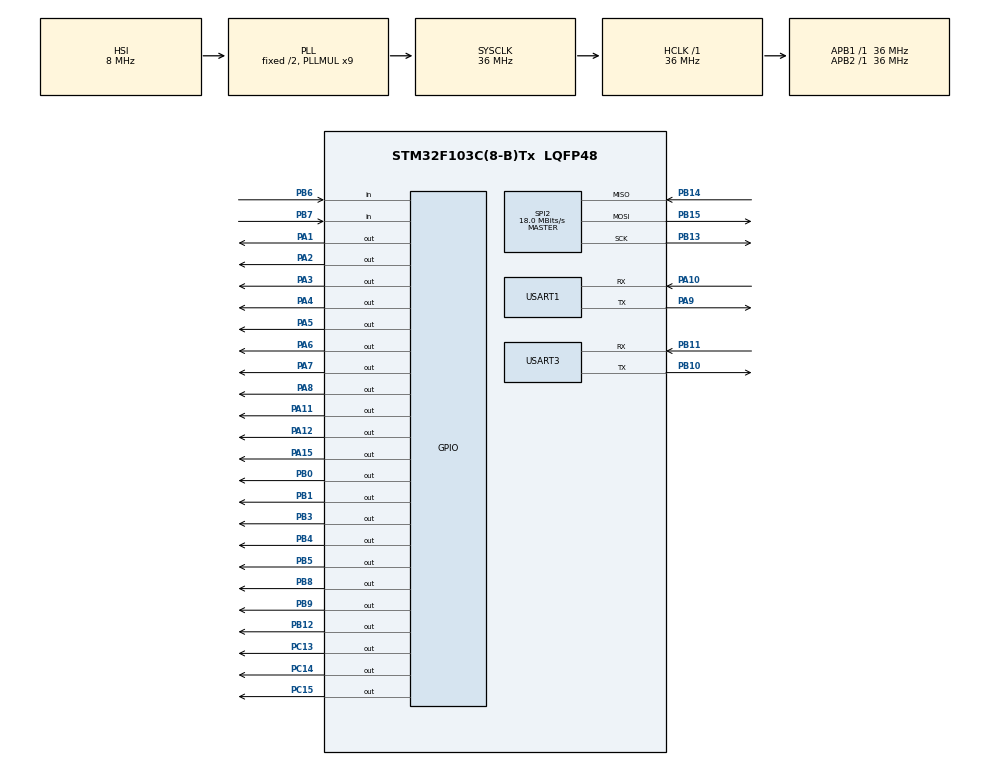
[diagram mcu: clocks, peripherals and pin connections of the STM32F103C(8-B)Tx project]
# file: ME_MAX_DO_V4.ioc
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Dma.Request0=USART1_RX
Dma.Request1=USART1_TX
Dma.Request2=USART3_RX
Dma.Request3=USART3_TX
Dma.USART1_RX.0.Direction=DMA_PERIPH_TO_MEMORY
Dma.USART1_RX.0.Instance=DMA1_Channel5
Dma.USART1_RX.0.MemDataAlignment=DMA_MDATAALIGN_BYTE
Dma.USART1_RX.0.MemInc=DMA_MINC_ENABLE
Dma.USART1_RX.0.Mode=DMA_NORMAL
Dma.USART1_RX.0.PeriphDataAlignment=DMA_PDATAALIGN_BYTE
Dma.USART1_RX.0.PeriphInc=DMA_PINC_DISABLE
Dma.USART1_RX.0.Priority=DMA_PRIORITY_LOW
Dma.USART1_TX.1.Direction=DMA_MEMORY_TO_PERIPH
Dma.USART1_TX.1.Instance=DMA1_Channel4
Dma.USART1_TX.1.MemDataAlignment=DMA_MDATAALIGN_BYTE
Dma.USART1_TX.1.MemInc=DMA_MINC_ENABLE
Dma.USART1_TX.1.Mode=DMA_NORMAL
Dma.USART1_TX.1.PeriphDataAlignment=DMA_PDATAALIGN_BYTE
Dma.USART1_TX.1.PeriphInc=DMA_PINC_DISABLE
Dma.USART1_TX.1.Priority=DMA_PRIORITY_LOW
Dma.USART3_RX.2.Direction=DMA_PERIPH_TO_MEMORY
Dma.USART3_RX.2.Instance=DMA1_Channel3
Dma.USART3_RX.2.MemDataAlignment=DMA_MDATAALIGN_BYTE
Dma.USART3_RX.2.MemInc=DMA_MINC_ENABLE
Dma.USART3_RX.2.Mode=DMA_NORMAL
Dma.USART3_RX.2.PeriphDataAlignment=DMA_PDATAALIGN_BYTE
Dma.USART3_RX.2.PeriphInc=DMA_PINC_DISABLE
Dma.USART3_RX.2.Priority=DMA_PRIORITY_LOW
Dma.USART3_TX.3.Direction=DMA_MEMORY_TO_PERIPH
Dma.USART3_TX.3.Instance=DMA1_Channel2
Dma.USART3_TX.3.MemDataAlignment=DMA_MDATAALIGN_BYTE
Dma.USART3_TX.3.MemInc=DMA_MINC_ENABLE
Dma.USART3_TX.3.Mode=DMA_NORMAL
Dma.USART3_TX.3.PeriphDataAlignment=DMA_PDATAALIGN_BYTE
Dma.USART3_TX.3.PeriphInc=DMA_PINC_DISABLE
Dma.USART3_TX.3.Priority=DMA_PRIORITY_LOW
IWDG.Prescaler=IWDG_PRESCALER_64
Mcu.Family=STM32F1
Mcu.Name=STM32F103C(8-B)Tx
Mcu.Package=LQFP48
NVIC.DMA1_Channel2_IRQn=true\:0\:0\:false\:false\:true\:false\:true\:true
NVIC.DMA1_Channel3_IRQn=true\:0\:0\:false\:false\:true\:false\:true\:true
NVIC.DMA1_Channel4_IRQn=true\:0\:0\:false\:false\:true\:false\:true\:true
NVIC.DMA1_Channel5_IRQn=true\:0\:0\:false\:false\:true\:false\:true\:true
NVIC.PriorityGroup=NVIC_PRIORITYGROUP_4
NVIC.RCC_IRQn=true\:0\:0\:false\:false\:true\:true\:false\:true
NVIC.SPI2_IRQn=true\:0\:0\:false\:false\:true\:true\:true\:true
NVIC.TIM2_IRQn=true\:0\:0\:false\:false\:true\:true\:true\:true
NVIC.USART1_IRQn=true\:0\:0\:false\:false\:true\:true\:true\:true
NVIC.USART3_IRQn=true\:0\:0\:false\:false\:true\:true\:true\:true
PA1.Signal=GPIO_Output
PA10.Mode=Asynchronous
PA10.Signal=USART1_RX
PA11.Signal=GPIO_Output
PA12.Signal=GPIO_Output
PA13.Mode=Serial_Wire
PA13.Signal=SYS_JTMS-SWDIO
PA14.Mode=Serial_Wire
PA14.Signal=SYS_JTCK-SWCLK
PA15.Signal=GPIO_Output
PA2.Signal=GPIO_Output
PA3.Signal=GPIO_Output
PA4.Signal=GPIO_Output
PA5.Signal=GPIO_Output
PA6.Signal=GPIO_Output
PA7.Signal=GPIO_Output
PA8.Signal=GPIO_Output
PA9.Mode=Asynchronous
PA9.Signal=USART1_TX
PB0.Signal=GPIO_Output
PB1.Signal=GPIO_Output
PB10.Mode=Asynchronous
PB10.Signal=USART3_TX
PB11.Mode=Asynchronous
PB11.Signal=USART3_RX
PB12.Signal=GPIO_Output
PB13.Mode=Full_Duplex_Master
PB13.Signal=SPI2_SCK
PB14.Mode=Full_Duplex_Master
PB14.Signal=SPI2_MISO
PB15.Mode=Full_Duplex_Master
PB15.Signal=SPI2_MOSI
PB3.Signal=GPIO_Output
PB4.Signal=GPIO_Output
PB5.Signal=GPIO_Output
PB6.Signal=GPIO_Input
PB7.Signal=GPIO_Input
PB8.Signal=GPIO_Output
PB9.Signal=GPIO_Output
PC13-TAMPER-RTC.Signal=GPIO_Output
PC14-OSC32_IN.Signal=GPIO_Output
PC15-OSC32_OUT.Signal=GPIO_Output
PD0-OSC_IN.Mode=HSE-External-Oscillator
PD0-OSC_IN.Signal=RCC_OSC_IN
PD1-OSC_OUT.Mode=HSE-External-Oscillator
PD1-OSC_OUT.Signal=RCC_OSC_OUT
ProjectManager.HeapSize=0x200
ProjectManager.StackSize=0x400
ProjectManager.TargetToolchain=STM32CubeIDE
RCC.AHBFreq_Value=36000000
RCC.APB1Freq_Value=36000000
RCC.APB1TimFreq_Value=36000000
RCC.APB2Freq_Value=36000000
RCC.APB2TimFreq_Value=36000000
RCC.HCLKFreq_Value=36000000
RCC.PLLMUL=RCC_PLL_MUL9
RCC.SYSCLKFreq_VALUE=36000000
RCC.SYSCLKSource=RCC_SYSCLKSOURCE_PLLCLK
RCC.USBFreq_Value=36000000
SPI2.CalculateBaudRate=18.0 MBits/s
SPI2.Direction=SPI_DIRECTION_2LINES
SPI2.Mode=SPI_MODE_MASTER
SPI2.VirtualType=VM_MASTER
TIM2.AutoReloadPreload=TIM_AUTORELOAD_PRELOAD_ENABLE
TIM2.Period=3
TIM2.Prescaler=35999
USART1.VirtualMode=VM_ASYNC
USART3.VirtualMode=VM_ASYNC
VP_IWDG_VS_IWDG.Mode=IWDG_Activate
VP_TIM2_VS_ClockSourceINT.Mode=Internal
board=custom

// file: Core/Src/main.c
/* USER CODE BEGIN Header */
/**
  ******************************************************************************
  * @file           : main.c
  * @brief          : Main program body
  ******************************************************************************
  * @attention
  *
  * Copyright (c) 2025 STMicroelectronics.
  * All rights reserved.
  *
  * This software is licensed under terms that can be found in the LICENSE file
  * in the root directory of this software component.
  * If no LICENSE file comes with this software, it is provided AS-IS.
  *
  ******************************************************************************
  */
/* USER CODE END Header */
#include "main.h"

/* USER CODE BEGIN Includes */
#include "string.h"
#include "stdbool.h"
#include "stdio.h"
#include "string.h"
#include "stdlib.h"
#include "Modbus_slave.h"
/* USER CODE END Includes */

/* USER CODE BEGIN PTD */

uint16_t len9 ;
uint16_t startAddr;
uint16_t startAddr1;
uint16_t numCoils1;
uint16_t numCoils;
volatile uint8_t uart1_tx_busy = 0;
volatile uint8_t uart3_tx_busy = 0;
uint8_t RxData2[10];
uint16_t coils_value;
uint8_t TxData2[10];

uint32_t cnt2;
uint8_t uart1_buf[64];
uint8_t uart3_buf[64];
uint8_t slave_id;
uint8_t RxData[64];
uint8_t TxData[256];
uint8_t RxData1[64];
uint8_t UART1_rx_buffer[64];
uint8_t UART3_rx_buffer[64];
uint8_t TxData1[256];
uint8_t is_trigger=0;

volatile uint32_t uart1_last_rx_time = 0;
volatile uint32_t uart3_last_rx_time = 0;
volatile uint32_t uart1_process_start = 0;
volatile uint32_t uart3_process_start = 0;

volatile uint32_t uart11_last_rx_time = 0;

volatile uint8_t uart1_recovering = 0;
volatile uint8_t uart3_recovering = 0;

uint32_t uart1_last_recovery = 0;
uint32_t uart3_last_recovery = 0;
uint32_t frame_delay = 4;

uint8_t buf_A; // DIP SWITCH ID

volatile uint8_t RxIndex1 = 0, RxIndex2 = 0;
uint8_t RxByte1, RxByte3;
uint32_t lastByteTime1 = 0, lastByteTime3 = 0;

uint8_t slave_id;
uint8_t buf_A; // DIP SWITCH ID
uint32_t selectedBaudRate;
uint16_t gpioVal;
uint8_t  lastGpioVal = 0xFF;

volatile uint8_t newFrameReceived = 0;
volatile uint16_t uart1_rx_size = 0;
volatile uint16_t uart3_rx_size = 0;

volatile uint8_t uart1_frame_ready = 0;
volatile uint8_t uart3_frame_ready = 0;
/* USER CODE END Includes */
static uint8_t prev_slave_id = 0;

/* USER CODE BEGIN PTD */

/* USER CODE END PTD */

/* USER CODE BEGIN PD */
void UART3_Recover(void);
void UART1_Recover(void);
/* USER CODE END PD */

IWDG_HandleTypeDef hiwdg;

SPI_HandleTypeDef hspi2;

TIM_HandleTypeDef htim2;

UART_HandleTypeDef huart1;
UART_HandleTypeDef huart3;
DMA_HandleTypeDef hdma_usart1_rx;
DMA_HandleTypeDef hdma_usart1_tx;
DMA_HandleTypeDef hdma_usart3_rx;
DMA_HandleTypeDef hdma_usart3_tx;

void SystemClock_Config(void);
static void MX_GPIO_Init(void);
static void MX_DMA_Init(void);
static void MX_SPI2_Init(void);
static void MX_USART1_UART_Init(void);
static void MX_USART3_UART_Init(void);
static void MX_IWDG_Init(void);
static void MX_TIM2_Init(void);

/* USER CODE BEGIN 0 */

//////////////////////////////////////////////////  MCP24 DIP SWITCH ID 2   /////////////////////////////////////////////

	   void csLOW_B(void)
		{
		HAL_GPIO_WritePin(GPIOB, GPIO_PIN_12, GPIO_PIN_RESET);
		}

		void csHIGH_B(void)
		{
		HAL_GPIO_WritePin(GPIOB, GPIO_PIN_12, GPIO_PIN_SET);
		}

		void RST_HIGH_B(void)
		{
		HAL_GPIO_WritePin(GPIOC, GPIO_PIN_15, GPIO_PIN_SET);
		}

		void SPI_Write_B (uint8_t *data, uint8_t len)
		{
		HAL_SPI_Transmit(&hspi2, data, len,3000);
		}

		void SPI_Read_B (uint8_t *data, uint8_t len)
		{
		HAL_SPI_Receive(&hspi2, data, len,3000);
		}

		//INITIALIZE THE MCP23S17
		void enable_MCPA_B (void)
		{
		uint8_t tData[3];
		tData[0]=0x4E;     // OPCODE MCP23 READ ENABLE
		tData[1]=0x05;    // IOCONA
		tData[2]=0xFF;    //  FOR BANK1

		csLOW_B();                    // pull the CS LOW
		SPI_Write_B(tData,3);
		csHIGH_B();                   // pull the HIGH
		HAL_Delay(2); ;           // Write cycle delay (5ms)
		}

		void enable_MCPB_B (void)
		{
		uint8_t tData[3];
		tData[0]=0x4E;     // OPCODE MCP23 READ ENABLE
		tData[1]=0x15;    // IOCONB
		tData[2]=0xFF;    //  FOR BANK1

		csLOW_B();                    // pull the CS LOW
		SPI_Write_B(tData,3);
		csHIGH_B();                   // pull the HIGH
		HAL_Delay(2);            // Write cycle delay (5ms)
		}
		void port_configB_B (void)
		{
		uint8_t tData[3];
		tData[0]=0x4E;
		tData[1]=0x10;      // IODIRB= 0X10 PORTB BANK=1 OUTPUT address.
		tData[2]=0xff;      // IODIRB 0XFF INPUT read modbus

		csLOW_B();                    // pull the CS LOW
		SPI_Write_B(tData,3);
		csHIGH_B();                   // pull the HIGH
		HAL_Delay(2); ;          // Write cycle delay (5ms)
		}

		void port_configA_B (void)
		{
		uint8_t tData[3];
		tData[0]=0x4E;
		tData[1]=0x00;      // IODIRA= 0X00 PORTB BANK=1 OUTPUT address.
		tData[2]=0xff;      // IODIRA 0X00 OUTPUT(relay output) oxff for input read modbus mcp

		csLOW_B();                    // pull the CS LOW
		SPI_Write_B(tData,3);
		csHIGH_B();                   // pull the HIGH
		HAL_Delay(2);           // Write cycle delay (5ms)
		}

		void polarity_configB_B (void)
		{
		uint8_t tData[3];
		tData[0]=0x4E;
		tData[1]=0x11;     // IPOL 0X11 BANK1 IPOLB
		tData[2]=0xff;    // IPOL 0X00 SAME polarity at OUTPUT

		csLOW_B();                    // pull the CS LOW
		SPI_Write_B(tData, 3);
		csHIGH_B();                   // pull the HIGH
		HAL_Delay(2);            // Write cycle delay (5ms)
		}

		void latch_configA_B (void)      // FOR READING REGISTER
		{
		uint8_t tData[3];
		tData[0]=0x4E;
		tData[1]=0x0A;     // OLATb 0X1A BANK1 address. 0X0A OLATA
		tData[2]=0xff;    // OLATB 0X00 OUTPUT LOW  AND 0XFF FOR HIGH   data

		csLOW_B();                    // pull the CS LOW
		SPI_Write_B(tData, 3);
		csHIGH_B();                   // pull the HIGH
		HAL_Delay(2);            // Write cycle delay (5ms)
		}

		void latch_configB_B (void)      // FOR READING REGISTER
		{
		uint8_t tData[3];
		tData[0]=0x4E;
		tData[1]=0x1A;     // OLATb 0X1A BANK1 address. 0X0A OLATA
		tData[2]=0xFF;    // OLATB 0X00 OUTPUT LOW  AND 0XFF FOR HIGH   data

		csLOW_B();                    // pull the CS LOW
		SPI_Write_B(tData, 3);
		csHIGH_B();                   // pull the HIGH
		HAL_Delay(2);            // Write cycle delay (5ms)
		}

		uint8_t GPIO_readA_B ()
		{

		uint8_t tData[2];
		tData[0] = 0x4F;         // OPCODE WRITE mcp23
		tData[1] = 0x09;         // 0x19 GPIOB read && GPIOA=0X09     //BANK1

		csLOW_B();
		SPI_Write_B(tData, 2);
		SPI_Read_B(&buf_A,1);
		csHIGH_B();
		HAL_Delay(10);
		return buf_A;

		}

void UART_SetBaudRate(UART_HandleTypeDef *huart, uint32_t baudRate)
{
	HAL_UART_DeInit(huart);
	huart->Init.BaudRate = baudRate;
	if (HAL_UART_Init(huart) != HAL_OK)
	{
		Error_Handler();
	}
}
/* USER CODE BEGIN 4 */

void UART_DMA_Init(void)
{
	HAL_UART_DMAStop(&huart1);
    HAL_UARTEx_ReceiveToIdle_DMA(&huart1, RxData1, sizeof(RxData1));
    __HAL_DMA_DISABLE_IT(&hdma_usart1_rx, DMA_IT_HT);

    HAL_UART_DMAStop(&huart3);
    HAL_UARTEx_ReceiveToIdle_DMA(&huart3, RxData, sizeof(RxData));
    __HAL_DMA_DISABLE_IT(&hdma_usart3_rx, DMA_IT_HT);
}

void UpdateUartBaudRate(void)
{
	static uint32_t previousBaud = 0;

	uint8_t gpioVal = (HAL_GPIO_ReadPin(GPIOB, GPIO_PIN_6) << 1) |
							HAL_GPIO_ReadPin(GPIOB, GPIO_PIN_7);

	switch (gpioVal)
	{
		case 0x00: selectedBaudRate = 9600; break;
		case 0x01: selectedBaudRate = 19200; break;
		case 0x02: selectedBaudRate = 38400; break;
		default: selectedBaudRate = 115200; break;
	}

	// 🔥 Only change if baud is different
	if (selectedBaudRate != previousBaud)
	{
		previousBaud = selectedBaudRate;

		// Stop UART first
		HAL_UART_DMAStop(&huart3);
		HAL_UART_DMAStop(&huart1);

		UART_SetBaudRate(&huart3, selectedBaudRate);
		UART_SetBaudRate(&huart1, selectedBaudRate);

		HAL_UARTEx_ReceiveToIdle_DMA(&huart3, RxData, sizeof(RxData));
		__HAL_DMA_DISABLE_IT(&hdma_usart3_rx, DMA_IT_HT);

		HAL_UARTEx_ReceiveToIdle_DMA(&huart1, RxData1, sizeof(RxData1));
		__HAL_DMA_DISABLE_IT(&hdma_usart1_rx, DMA_IT_HT);
	}
}
/* USER CODE END 0 */

void SystemClock_Config(void)
{
  RCC_OscInitTypeDef RCC_OscInitStruct = {0};
  RCC_ClkInitTypeDef RCC_ClkInitStruct = {0};

  /** Initializes the RCC Oscillators according to the specified parameters
  * in the RCC_OscInitTypeDef structure.
  */
  RCC_OscInitStruct.OscillatorType = RCC_OSCILLATORTYPE_HSI|RCC_OSCILLATORTYPE_LSI;
  RCC_OscInitStruct.HSIState = RCC_HSI_ON;
  RCC_OscInitStruct.HSICalibrationValue = RCC_HSICALIBRATION_DEFAULT;
  RCC_OscInitStruct.LSIState = RCC_LSI_ON;
  RCC_OscInitStruct.PLL.PLLState = RCC_PLL_ON;
  RCC_OscInitStruct.PLL.PLLSource = RCC_PLLSOURCE_HSI_DIV2;
  RCC_OscInitStruct.PLL.PLLMUL = RCC_PLL_MUL9;
  if (HAL_RCC_OscConfig(&RCC_OscInitStruct) != HAL_OK)
  {
    Error_Handler();
  }

  /** Initializes the CPU, AHB and APB buses clocks
  */
  RCC_ClkInitStruct.ClockType = RCC_CLOCKTYPE_HCLK|RCC_CLOCKTYPE_SYSCLK
                              |RCC_CLOCKTYPE_PCLK1|RCC_CLOCKTYPE_PCLK2;
  RCC_ClkInitStruct.SYSCLKSource = RCC_SYSCLKSOURCE_PLLCLK;
  RCC_ClkInitStruct.AHBCLKDivider = RCC_SYSCLK_DIV1;
  RCC_ClkInitStruct.APB1CLKDivider = RCC_HCLK_DIV1;
  RCC_ClkInitStruct.APB2CLKDivider = RCC_HCLK_DIV1;

  if (HAL_RCC_ClockConfig(&RCC_ClkInitStruct, FLASH_LATENCY_1) != HAL_OK)
  {
    Error_Handler();
  }
}

static void MX_IWDG_Init(void)
{

  hiwdg.Instance = IWDG;
  hiwdg.Init.Prescaler = IWDG_PRESCALER_64;
  hiwdg.Init.Reload = 4095;
  if (HAL_IWDG_Init(&hiwdg) != HAL_OK)
  {
    Error_Handler();
  }

}

static void MX_SPI2_Init(void)
{

  /* SPI2 parameter configuration*/
  hspi2.Instance = SPI2;
  hspi2.Init.Mode = SPI_MODE_MASTER;
  hspi2.Init.Direction = SPI_DIRECTION_2LINES;
  hspi2.Init.DataSize = SPI_DATASIZE_8BIT;
  hspi2.Init.CLKPolarity = SPI_POLARITY_LOW;
  hspi2.Init.CLKPhase = SPI_PHASE_1EDGE;
  hspi2.Init.NSS = SPI_NSS_SOFT;
  hspi2.Init.BaudRatePrescaler = SPI_BAUDRATEPRESCALER_2;
  hspi2.Init.FirstBit = SPI_FIRSTBIT_MSB;
  hspi2.Init.TIMode = SPI_TIMODE_DISABLE;
  hspi2.Init.CRCCalculation = SPI_CRCCALCULATION_DISABLE;
  hspi2.Init.CRCPolynomial = 10;
  if (HAL_SPI_Init(&hspi2) != HAL_OK)
  {
    Error_Handler();
  }

}

static void MX_TIM2_Init(void)
{

  TIM_ClockConfigTypeDef sClockSourceConfig = {0};
  TIM_MasterConfigTypeDef sMasterConfig = {0};

  htim2.Instance = TIM2;
  htim2.Init.Prescaler = 35999;
  htim2.Init.CounterMode = TIM_COUNTERMODE_UP;
  htim2.Init.Period = 3;
  htim2.Init.ClockDivision = TIM_CLOCKDIVISION_DIV1;
  htim2.Init.AutoReloadPreload = TIM_AUTORELOAD_PRELOAD_ENABLE;
  if (HAL_TIM_Base_Init(&htim2) != HAL_OK)
  {
    Error_Handler();
  }
  sClockSourceConfig.ClockSource = TIM_CLOCKSOURCE_INTERNAL;
  if (HAL_TIM_ConfigClockSource(&htim2, &sClockSourceConfig) != HAL_OK)
  {
    Error_Handler();
  }
  sMasterConfig.MasterOutputTrigger = TIM_TRGO_RESET;
  sMasterConfig.MasterSlaveMode = TIM_MASTERSLAVEMODE_DISABLE;
  if (HAL_TIMEx_MasterConfigSynchronization(&htim2, &sMasterConfig) != HAL_OK)
  {
    Error_Handler();
  }

}

static void MX_USART1_UART_Init(void)
{

  huart1.Instance = USART1;
  huart1.Init.BaudRate = 115200;
  huart1.Init.WordLength = UART_WORDLENGTH_8B;
  huart1.Init.StopBits = UART_STOPBITS_1;
  huart1.Init.Parity = UART_PARITY_NONE;
  huart1.Init.Mode = UART_MODE_TX_RX;
  huart1.Init.HwFlowCtl = UART_HWCONTROL_NONE;
  huart1.Init.OverSampling = UART_OVERSAMPLING_16;
  if (HAL_UART_Init(&huart1) != HAL_OK)
  {
    Error_Handler();
  }

}

static void MX_USART3_UART_Init(void)
{

  huart3.Instance = USART3;
  huart3.Init.BaudRate = 115200;
  huart3.Init.WordLength = UART_WORDLENGTH_8B;
  huart3.Init.StopBits = UART_STOPBITS_1;
  huart3.Init.Parity = UART_PARITY_NONE;
  huart3.Init.Mode = UART_MODE_TX_RX;
  huart3.Init.HwFlowCtl = UART_HWCONTROL_NONE;
  huart3.Init.OverSampling = UART_OVERSAMPLING_16;
  if (HAL_UART_Init(&huart3) != HAL_OK)
  {
    Error_Handler();
  }

}

static void MX_DMA_Init(void)
{

  /* DMA controller clock enable */
  __HAL_RCC_DMA1_CLK_ENABLE();

  /* DMA interrupt init */
  /* DMA1_Channel2_IRQn interrupt configuration */
  HAL_NVIC_SetPriority(DMA1_Channel2_IRQn, 0, 0);
  HAL_NVIC_EnableIRQ(DMA1_Channel2_IRQn);
  /* DMA1_Channel3_IRQn interrupt configuration */
  HAL_NVIC_SetPriority(DMA1_Channel3_IRQn, 0, 0);
  HAL_NVIC_EnableIRQ(DMA1_Channel3_IRQn);
  /* DMA1_Channel4_IRQn interrupt configuration */
  HAL_NVIC_SetPriority(DMA1_Channel4_IRQn, 0, 0);
  HAL_NVIC_EnableIRQ(DMA1_Channel4_IRQn);
  /* DMA1_Channel5_IRQn interrupt configuration */
  HAL_NVIC_SetPriority(DMA1_Channel5_IRQn, 0, 0);
  HAL_NVIC_EnableIRQ(DMA1_Channel5_IRQn);

}

static void MX_GPIO_Init(void)
{
  GPIO_InitTypeDef GPIO_InitStruct = {0};

  /* GPIO Ports Clock Enable */
  __HAL_RCC_GPIOC_CLK_ENABLE();
  __HAL_RCC_GPIOD_CLK_ENABLE();
  __HAL_RCC_GPIOA_CLK_ENABLE();
  __HAL_RCC_GPIOB_CLK_ENABLE();

  /*Configure GPIO pin Output Level */
  HAL_GPIO_WritePin(GPIOC, GPIO_PIN_13|GPIO_PIN_14|GPIO_PIN_15, GPIO_PIN_RESET);

  /*Configure GPIO pin Output Level */
  HAL_GPIO_WritePin(GPIOA, GPIO_PIN_1|GPIO_PIN_2|GPIO_PIN_3|GPIO_PIN_4
                          |GPIO_PIN_5|GPIO_PIN_6|GPIO_PIN_7|GPIO_PIN_8
                          |GPIO_PIN_11|GPIO_PIN_12|GPIO_PIN_15, GPIO_PIN_RESET);

  /*Configure GPIO pin Output Level */
  HAL_GPIO_WritePin(GPIOB, GPIO_PIN_0|GPIO_PIN_1|GPIO_PIN_12|GPIO_PIN_3
                          |GPIO_PIN_4|GPIO_PIN_5|GPIO_PIN_8|GPIO_PIN_9, GPIO_PIN_RESET);

  /*Configure GPIO pins : PC13 PC14 PC15 */
  GPIO_InitStruct.Pin = GPIO_PIN_13|GPIO_PIN_14|GPIO_PIN_15;
  GPIO_InitStruct.Mode = GPIO_MODE_OUTPUT_PP;
  GPIO_InitStruct.Pull = GPIO_NOPULL;
  GPIO_InitStruct.Speed = GPIO_SPEED_FREQ_LOW;
  HAL_GPIO_Init(GPIOC, &GPIO_InitStruct);

  /*Configure GPIO pins : PA1 PA2 PA3 PA4
                           PA5 PA6 PA7 PA8
                           PA11 PA12 PA15 */
  GPIO_InitStruct.Pin = GPIO_PIN_1|GPIO_PIN_2|GPIO_PIN_3|GPIO_PIN_4
                          |GPIO_PIN_5|GPIO_PIN_6|GPIO_PIN_7|GPIO_PIN_8
                          |GPIO_PIN_11|GPIO_PIN_12|GPIO_PIN_15;
  GPIO_InitStruct.Mode = GPIO_MODE_OUTPUT_PP;
  GPIO_InitStruct.Pull = GPIO_NOPULL;
  GPIO_InitStruct.Speed = GPIO_SPEED_FREQ_LOW;
  HAL_GPIO_Init(GPIOA, &GPIO_InitStruct);

  /*Configure GPIO pins : PB0 PB1 PB12 PB3
                           PB4 PB5 PB8 PB9 */
  GPIO_InitStruct.Pin = GPIO_PIN_0|GPIO_PIN_1|GPIO_PIN_12|GPIO_PIN_3
                          |GPIO_PIN_4|GPIO_PIN_5|GPIO_PIN_8|GPIO_PIN_9;
  GPIO_InitStruct.Mode = GPIO_MODE_OUTPUT_PP;
  GPIO_InitStruct.Pull = GPIO_NOPULL;
  GPIO_InitStruct.Speed = GPIO_SPEED_FREQ_LOW;
  HAL_GPIO_Init(GPIOB, &GPIO_InitStruct);

  /*Configure GPIO pins : PB6 PB7 */
  GPIO_InitStruct.Pin = GPIO_PIN_6|GPIO_PIN_7;
  GPIO_InitStruct.Mode = GPIO_MODE_INPUT;
  GPIO_InitStruct.Pull = GPIO_NOPULL;
  HAL_GPIO_Init(GPIOB, &GPIO_InitStruct);

}

/* USER CODE BEGIN 4 */

void HAL_TIM_PeriodElapsedCallback(TIM_HandleTypeDef *htim) {
    if (htim->Instance == TIM2) {
       HAL_TIM_Base_Stop_IT(&htim2); // Stop timer until next packet
        is_trigger^=1;
        // Calculate actual bytes received via DMA
        uint16_t len = 64 -  __HAL_DMA_GET_COUNTER(huart1.hdmarx);
        uint16_t len1 = 64 - __HAL_DMA_GET_COUNTER(huart3.hdmarx);
        if (len >= 8) { // Minimum Modbus RTU frame size

      	   HAL_UART_DMAStop(&huart1);
     	   HAL_UARTEx_ReceiveToIdle_DMA(&huart1, UART1_rx_buffer, sizeof(UART1_rx_buffer));
     	   __HAL_DMA_DISABLE_IT(&hdma_usart1_rx, DMA_IT_HT);
     	  uart1_frame_ready = 1;
     	  uart1_rx_size = len;

     	  memcpy(RxData1,UART1_rx_buffer,len);

       }
       else if(len1>=8){

    	   HAL_UART_DMAStop(&huart3);
    	   HAL_UARTEx_ReceiveToIdle_DMA(&huart3, UART3_rx_buffer, sizeof(UART3_rx_buffer));
    	   __HAL_DMA_DISABLE_IT(&hdma_usart3_rx, DMA_IT_HT);
    	   uart3_frame_ready = 1;
    	    uart3_rx_size = len1;
    	    memcpy(RxData,UART3_rx_buffer,len1);
       }
    }
}

/* USER CODE END 0 */

/**
  * @brief  The application entry point.
  * @retval int
  */
int main(void)
{

  /* USER CODE BEGIN 1 */

  /* USER CODE END 1 */

  /* MCU Configuration--------------------------------------------------------*/

  /* Reset of all peripherals, Initializes the Flash interface and the Systick. */
  HAL_Init();

  /* USER CODE BEGIN Init */

  /* USER CODE END Init */

  /* Configure the system clock */
  SystemClock_Config();

  /* USER CODE BEGIN SysInit */

  /* USER CODE END SysInit */

  /* Initialize all configured peripherals */
  MX_GPIO_Init();
  MX_DMA_Init();
  MX_SPI2_Init();
  MX_USART1_UART_Init();
  MX_USART3_UART_Init();
 // MX_IWDG_Init();
  MX_TIM2_Init();
  /* USER CODE BEGIN 2 */
    RST_HIGH_B();
    csHIGH_B();
    enable_MCPA_B();
    port_configA_B();
    latch_configA_B();
    enable_MCPB_B();
    port_configB_B();
    polarity_configB_B();
    latch_configB_B();

    UART_DMA_Init();
    /* Infinite loop */
    /* USER CODE BEGIN WHILE */

    uint32_t t_wdg = 0;
    uint32_t t_gpio = 0;
    uint32_t t_baud = 0;

  //  HAL_TIM_Base_Start_IT(&htim2);

    while (1)
    {
    	uint32_t now = HAL_GetTick();

    // ================= WATCHDOG (100 ms) =================
//    	if ((now - t_wdg) >= 100)
//    	{
//    		t_wdg = now;
//    		HAL_IWDG_Refresh(&hiwdg);
//    	}

    // ================= GPIO READ (10 ms) =================
		if ((now - t_gpio) >= 10)
		{
			t_gpio = now;
			GPIO_readA_B();
		}

    // ================= BAUD UPDATE (500 ms) =================
		if ((now - t_baud) >= 500)
		{
			t_baud = now;
			UpdateUartBaudRate();
		}

    // ================= SLAVE ID UPDATE =================
		if (buf_A != prev_slave_id)
		{
			prev_slave_id = buf_A;
			slave_id = buf_A;

		}

    // =====================================================
    // ================= UART1 PROCESS ======================
    // =====================================================
    if (uart1_frame_ready)
    {

            uart1_frame_ready = 0;

            uint16_t len = uart1_rx_size;

            if (len < 6 || len > 64)
            {
                uart1_rx_size = 0;
                continue;
            }

            uint16_t crc_calc = crc16_1(uart1_buf, len - 2);
            uint16_t crc_rx   = uart1_buf[len-2] | (uart1_buf[len-1] << 8);

            if (crc_calc != crc_rx) continue;
            if (uart1_buf[1] != 0x01 && uart1_buf[1] != 0x0f) continue;

            startAddr1 = (uart1_buf[2] << 8) | uart1_buf[3];
            numCoils1  = (uart1_buf[4] << 8) | uart1_buf[5];

    		switch (uart1_buf[1])
    		{
    			case 0x01:

    			readCoils();
    			break;
    			case 0x0F:
    			writeMultiCoils();
    			break;
    		}

   }
   else{

	   UART1_Recover();
   }

    // =====================================================
    // ================= UART3 PROCESS ======================
    // =====================================================
    if (uart3_frame_ready){

			  uart3_frame_ready = 0;
			  uint16_t len = uart3_rx_size;
			  if (len < 6 || len > 64){
				   //uart3_frame_ready = 0;
				  uart3_rx_size=0;
				   continue;
			  }
			  uart3_rx_size=0;
			  uint16_t crc_calc = crc16(uart3_buf, len - 2);
			  uint16_t crc_rx   = uart3_buf[len-2] | (uart3_buf[len-1] << 8);

			  if (crc_calc != crc_rx) continue;
			  if ((uart3_buf[1] != 0x01) && (uart3_buf[1] != 0x0f) ) continue;

			  startAddr = (uart3_buf[2] << 8) | uart3_buf[3];
			  numCoils  = (uart3_buf[4] << 8) | uart3_buf[5];

				switch (uart3_buf[1])
				{
					case 0x01:
						readCoils2();
					break;
					case 0x0F:

						writeMultiCoils2();
					break;
				}

     }
    else{
    	UART3_Recover();
    }

     }
    }

/**
  * @brief System Clock Configuration
  * @retval None
  */

/**
  * @brief SPI2 Initialization Function
  * @param None
  * @retval None
  */

/* USER CODE BEGIN 4 */
uint8_t error = 0;
void UART1_Recover(void)
{

	error = 0;
    // Check all errors first
    if (__HAL_UART_GET_FLAG(&huart1, UART_FLAG_ORE)) error = 1;
    if (__HAL_UART_GET_FLAG(&huart1, UART_FLAG_FE))  error = 1;
    if (__HAL_UART_GET_FLAG(&huart1, UART_FLAG_NE))  error = 1;
    if (__HAL_UART_GET_FLAG(&huart1, UART_FLAG_PE))  error = 1;

    if (error)
    {
    	cnt2++;
        // 1. Stop DMA
        HAL_UART_DMAStop(&huart1);

        // 2. Clear all error flags
        __HAL_UART_CLEAR_OREFLAG(&huart1);
        __HAL_UART_CLEAR_FEFLAG(&huart1);
        __HAL_UART_CLEAR_NEFLAG(&huart1);
        __HAL_UART_CLEAR_PEFLAG(&huart1);

        // 3. Flush DR (VERY IMPORTANT)
        volatile uint32_t temp;
        temp = huart1.Instance->SR;
        temp = huart1.Instance->DR;
        (void)temp;

        // 4. Restart DMA reception
        HAL_UARTEx_ReceiveToIdle_DMA(&huart1, RxData1, sizeof(RxData1));

//         5. Disable Half Transfer interrupt (good for Modbus)
        __HAL_DMA_DISABLE_IT(&hdma_usart1_rx, DMA_IT_HT);
    }
}
void UART3_Recover(void)
{
    uint8_t error = 0;

    // Check all errors first
    if (__HAL_UART_GET_FLAG(&huart3, UART_FLAG_ORE)) error = 1;
    if (__HAL_UART_GET_FLAG(&huart3, UART_FLAG_FE))  error = 1;
    if (__HAL_UART_GET_FLAG(&huart3, UART_FLAG_NE))  error = 1;
    if (__HAL_UART_GET_FLAG(&huart3, UART_FLAG_PE))  error = 1;

    if (error)
    {
        // 1. Stop DMA
        HAL_UART_DMAStop(&huart3);

        // 2. Clear all error flags
        __HAL_UART_CLEAR_OREFLAG(&huart3);
        __HAL_UART_CLEAR_FEFLAG(&huart3);
        __HAL_UART_CLEAR_NEFLAG(&huart3);
        __HAL_UART_CLEAR_PEFLAG(&huart3);

        // 3. Flush DR (VERY IMPORTANT)
        volatile uint32_t temp;
        temp = huart3.Instance->SR;
        temp = huart3.Instance->DR;
        (void)temp;

        // 4. Restart DMA reception
        HAL_UARTEx_ReceiveToIdle_DMA(&huart3, RxData, sizeof(RxData));

        // 5. Disable Half Transfer interrupt (good for Modbus)
        __HAL_DMA_DISABLE_IT(&hdma_usart3_rx, DMA_IT_HT);
    }
}
void HAL_UART_ErrorCallback(UART_HandleTypeDef *huart)
{
    if (huart->Instance == USART1)
    {
        //UART1_Recover();
    }
    else if(huart->Instance == USART3){
    	//UART3_Recover();
    }
}
//void HAL_UARTEx_RxEventCallback(UART_HandleTypeDef *huart, uint16_t Size)
//{
//	if (huart->Instance == USART1)
//	{
////		uart1_rx_size = Size;
////		HAL_TIM_Base_Start_IT(&htim2);
//
//
//
//	}
//	else if (huart->Instance == USART3)
//	{
////		uart3_rx_size = Size;
////		HAL_TIM_Base_Start_IT(&htim2);
//
//	}
//}
void HAL_UARTEx_RxEventCallback(UART_HandleTypeDef *huart, uint16_t Size)
{
    if (huart->Instance == USART1)
    {
        if (Size >= 6 && Size <= sizeof(RxData1))
        {
            if (RxData1[0] == slave_id && !uart1_frame_ready)
            {
                memcpy(uart1_buf, RxData1, Size);

                uart1_rx_size = Size;
                uart1_last_rx_time = HAL_GetTick();
                uart1_process_start = uart1_last_rx_time;

                uart1_frame_ready = 1;

                uart1_recovering = 0;
            }
        }
        memset(RxData1,0,sizeof(RxData1));
        HAL_UARTEx_ReceiveToIdle_DMA(&huart1, RxData1, sizeof(RxData1));
        __HAL_DMA_DISABLE_IT(&hdma_usart1_rx, DMA_IT_HT);
    }

    else if (huart->Instance == USART3)
    {
        if (Size >= 6 && Size <= sizeof(RxData))
        {
            if (RxData[0] == slave_id && !uart3_frame_ready)
            {
                memcpy(uart3_buf, RxData, Size);

                uart3_rx_size = Size;
                uart3_last_rx_time = HAL_GetTick();
                uart3_process_start = uart3_last_rx_time;

                uart3_frame_ready = 1;

                uart3_recovering = 0;
            }
        }
        memset(RxData,0,sizeof(RxData));
        HAL_UARTEx_ReceiveToIdle_DMA(&huart3, RxData, sizeof(RxData));
        __HAL_DMA_DISABLE_IT(&hdma_usart3_rx, DMA_IT_HT);
    }
}

//void HAL_UART_TxCpltCallback(UART_HandleTypeDef *huart)
//{
//    if (huart->Instance == USART3)
//    {
//        while (__HAL_UART_GET_FLAG(huart, UART_FLAG_TC) == RESET);
//    	HAL_GPIO_WritePin(GPIOB, GPIO_PIN_9, GPIO_PIN_RESET);
//        uart3_tx_busy = 0;
//    }
//    else if (huart->Instance == USART1)
//    {
//        while (__HAL_UART_GET_FLAG(huart, UART_FLAG_TC) == RESET);
//        HAL_GPIO_WritePin(GPIOA, GPIO_PIN_8, GPIO_PIN_SET);
//        uart1_tx_busy = 0;
//    }
//}
/* USER CODE END 4 */

void Error_Handler(void)
{
  __disable_irq();
  while (1)
  {
  }
}
